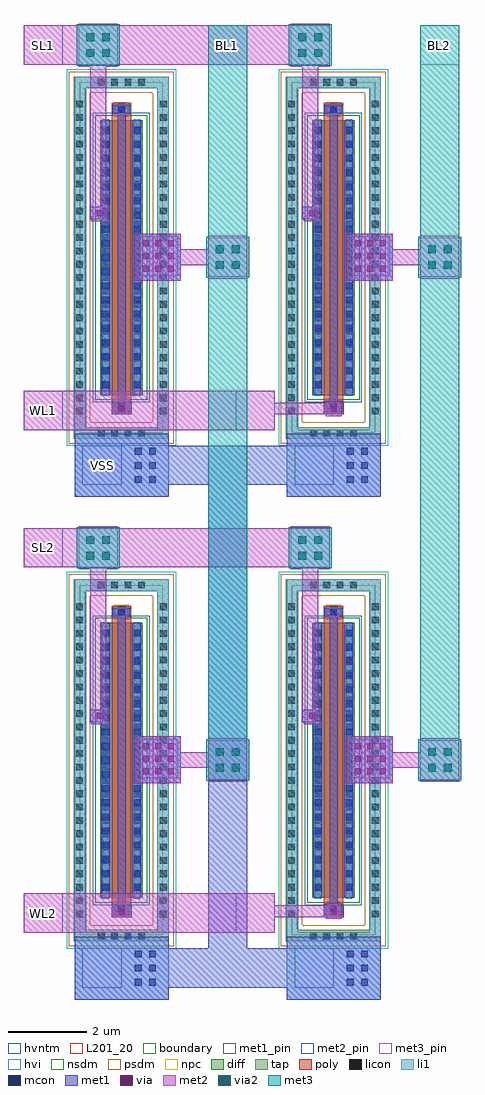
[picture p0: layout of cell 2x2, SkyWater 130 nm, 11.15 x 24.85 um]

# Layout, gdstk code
import gdstk
lib = gdstk.Library(unit=1e-6, precision=1e-09)
def R(c, l, rs):  # rectangles x0, y0, x1, y1
    for r in rs: c.add(gdstk.rectangle(r[:2], r[2:], *l))
def A(c, l, x, y, w, h, nx, ny, dx, dy):  # array of equal rectangles
    R(c, l, [(x+i*dx, y+j*dy, x+i*dx+w, y+j*dy+h) for i in range(nx) for j in range(ny)])
diff = (65, 20)
tap = (65, 44)
poly = (66, 20)
licon = (66, 44)
li1 = (67, 20)
mcon = (67, 44)
met1_pin = (68, 16)
met1 = (68, 20)
via = (68, 44)
met2_pin = (69, 16)
met2 = (69, 20)
via2 = (69, 44)
met3_pin = (70, 16)
met3 = (70, 20)
hvi = (75, 20)
nsdm = (93, 44)
psdm = (94, 20)
npc = (95, 20)
hvntm = (125, 20)
L201_20 = (201, 20)
boundary = (235, 4)

sky130_fd_pr_reram__rera = lib.new_cell('sky130_fd_pr_reram__reram_cell_X')
R(sky130_fd_pr_reram__rera, met1_pin, [(-0.15,-2.46,0.85,-1.46)])
R(sky130_fd_pr_reram__rera, met1, [(-0.15,-2.46,0.85,-1.46)])
A(sky130_fd_pr_reram__rera, via, -0.045, -2.355, 0.15, 0.15, 3, 3, 0.32, 0.32)
R(sky130_fd_pr_reram__rera, met2_pin, [(-0.15,-2.46,0.85,-1.46)])
R(sky130_fd_pr_reram__rera, met2, [(-0.15,-2.46,0.85,-1.46)])
R(sky130_fd_pr_reram__rera, L201_20, [(-0.15,-2.46,0.85,-1.46)])
sky130_fd_pr_reram__rera.add(gdstk.Label('TE', (0.35,-1.96), layer=69, texttype=5))
sky130_fd_pr_reram__rera.add(gdstk.Label('BE', (0.35,-1.96), layer=68, texttype=5))

sky130_fd_pr__nfet_g5v0d = lib.new_cell('sky130_fd_pr__nfet_g5v0d10v5_9YEQ2B')
R(sky130_fd_pr__nfet_g5v0d, diff, [(-0.54,-3.5,0.54,3.5)])
R(sky130_fd_pr__nfet_g5v0d, tap, [(-1.21,-4.61,1.21,-4.32), (-1.21,-4.32,-0.92,4.32), (0.92,-4.32,1.21,4.32), (-1.21,4.32,1.21,4.61)])
R(sky130_fd_pr__nfet_g5v0d, poly, [(-0.25,-3.94,0.25,3.94)])
A(sky130_fd_pr__nfet_g5v0d, licon, -0.595, -4.55, 0.17, 0.17, 4, 2, 0.34, 8.93)
A(sky130_fd_pr__nfet_g5v0d, licon, -1.15, -3.995, 0.17, 0.17, 1, 24, 0, 0.34)
A(sky130_fd_pr__nfet_g5v0d, licon, 0.98, -3.995, 0.17, 0.17, 1, 24, 0, 0.34)
A(sky130_fd_pr__nfet_g5v0d, licon, -0.48, -3.315, 0.17, 0.17, 1, 20, 0, 0.34)
A(sky130_fd_pr__nfet_g5v0d, licon, 0.31, -3.315, 0.17, 0.17, 1, 20, 0, 0.34)
R(sky130_fd_pr__nfet_g5v0d, licon, [(-0.085,-3.86,0.085,-3.69), (-0.085,3.69,0.085,3.86)])
R(sky130_fd_pr__nfet_g5v0d, li1, [(-1.15,-4.55,1.15,-4.38), (-1.15,-4.38,-0.98,4.38), (0.98,-4.38,1.15,4.38), (-0.25,-3.86,0.25,-3.69), (-0.48,-3.52,-0.31,3.52), (0.31,-3.52,0.48,3.52), (-0.25,3.69,0.25,3.86), (-1.15,4.38,1.15,4.55)])
A(sky130_fd_pr__nfet_g5v0d, mcon, -0.48, -3.325, 0.17, 0.17, 1, 19, 0, 0.36)
A(sky130_fd_pr__nfet_g5v0d, mcon, 0.31, -3.325, 0.17, 0.17, 1, 19, 0, 0.36)
R(sky130_fd_pr__nfet_g5v0d, mcon, [(-0.085,-3.86,0.085,-3.69), (-0.085,3.69,0.085,3.86)])
R(sky130_fd_pr__nfet_g5v0d, met1, [(-0.23,-3.89,0.23,-3.66), (-0.51,-3.5,-0.28,3.5), (0.28,-3.5,0.51,3.5), (-0.23,3.66,0.23,3.89)])
R(sky130_fd_pr__nfet_g5v0d, hvi, [(-1.395,-4.795,1.395,4.795)])
R(sky130_fd_pr__nfet_g5v0d, nsdm, [(-0.665,-3.625,0.665,3.625)])
R(sky130_fd_pr__nfet_g5v0d, psdm, [(-1.335,-4.735,1.335,-4.195), (-1.335,-4.195,-0.795,4.195), (0.795,-4.195,1.335,4.195), (-1.335,4.195,1.335,4.735)])
R(sky130_fd_pr__nfet_g5v0d, npc, [(-0.185,-3.96,0.185,-3.59), (-0.185,3.59,0.185,3.96)])
R(sky130_fd_pr__nfet_g5v0d, hvntm, [(-0.725,-3.685,0.725,3.685)])
R(sky130_fd_pr__nfet_g5v0d, boundary, [(-1.06,-4.46,1.06,4.46)])

c_1t1r = lib.new_cell('1T1R')
R(c_1t1r, li1, [(-0.5,2.1,1.9,3.8), (-0.5,3.8,-0.2,12.5), (1.6,3.8,1.9,12.5), (-0.5,12.5,1.9,12.8)])
A(c_1t1r, mcon, 1.035, 2.455, 0.17, 0.17, 1, 3, 0, 0.36)
A(c_1t1r, mcon, 1.395, 2.455, 0.17, 0.17, 1, 3, 0, 0.36)
R(c_1t1r, met1_pin, [(-0.3,2.4,0.7,3.4)])
R(c_1t1r, met1, [(-0.5,2.1,1.9,3.7), (0.45,4.2,0.95,4.5), (0.6,4.5,0.8,12.1), (1,7.6,2.2,8.8), (-0.12,9.16,0.41,9.48)])
R(c_1t1r, via, [(0.625,4.275,0.775,4.425), (0.07,9.245,0.22,9.395)])
R(c_1t1r, met2_pin, [(-1.8,3.8,-0.8,4.8)])
R(c_1t1r, met2, [(-1.8,3.8,-0.8,4.2), (0.5,4.15,0.9,4.2), (-1.8,4.2,0.9,4.5), (-1.8,4.5,-0.8,4.8), (0.5,4.5,0.9,4.55), (1,7.6,2.2,8), (2.9,7.65,3.9,8), (1,8,3.9,8.4), (1,8.4,2.2,8.8), (2.9,8.4,3.9,8.75), (-0.07,9.11,0.36,9.2), (-0.1,9.2,0.36,9.53), (-0.1,9.53,0.3,13.05), (-0.4,13.05,0.6,14.15)])
R(c_1t1r, via2, [(3.1,7.9,3.3,8.1), (3.5,7.9,3.7,8.1), (3.1,8.3,3.3,8.5), (3.5,8.3,3.7,8.5), (-0.2,13.3,0,13.5), (0.2,13.3,0.4,13.5), (-0.2,13.7,0,13.9), (0.2,13.7,0.4,13.9)])
R(c_1t1r, met3_pin, [(2.9,7.7,3.9,8.7), (-0.4,13.1,0.6,14.1)])
R(c_1t1r, met3, [(2.85,7.675,3.95,8.725), (-0.45,13.075,0.65,14.125)])
c_1t1r.add(gdstk.Reference(sky130_fd_pr_reram__rera, (1.28,10.19)))
c_1t1r.add(gdstk.Reference(sky130_fd_pr__nfet_g5v0d, (0.69,8.19)))
c_1t1r.add(gdstk.Label('SL', (0.1,13.6), layer=70, texttype=5))
c_1t1r.add(gdstk.Label('VSS', (0.2,2.9), layer=68, texttype=5))
c_1t1r.add(gdstk.Label('WL', (-1.3,4.3), layer=69, texttype=5))
c_1t1r.add(gdstk.Label('BL', (3.4,8.2), layer=70, texttype=5))

c_2x2 = lib.new_cell('2x2')
R(c_2x2, met1_pin, [(8.3,1,9.3,2)])
R(c_2x2, met1, [(8.3,-11.8,14.7,-10.8), (11.5,-10.8,12.5,1), (8.3,1,14.7,2)])
R(c_2x2, met2_pin, [(6.8,-10.4,7.8,-9.4), (6.8,-1.1,7.8,-0.1), (6.8,2.4,7.8,3.4), (6.8,11.7,7.8,12.7)])
R(c_2x2, met2, [(6.8,-10.4,13.2,-9.4), (6.8,-1.1,14.6,-0.1), (6.8,2.4,13.2,3.4), (6.8,11.7,14.6,12.7)])
R(c_2x2, met3_pin, [(11.5,11.7,12.5,12.7), (16.9,11.7,17.9,12.7)])
R(c_2x2, met3, [(11.5,-6.5,12.5,12.7), (16.9,-6.5,17.9,12.7)])
c_2x2.add(gdstk.Reference(c_1t1r, (14,-14.2)))
c_2x2.add(gdstk.Reference(c_1t1r, (8.6,-14.2)))
c_2x2.add(gdstk.Reference(c_1t1r, (14,-1.4)))
c_2x2.add(gdstk.Reference(c_1t1r, (8.6,-1.4)))
c_2x2.add(gdstk.Label('BL2', (17.4,12.2), layer=70, texttype=5))
c_2x2.add(gdstk.Label('BL1', (12,12.2), layer=70, texttype=5))
c_2x2.add(gdstk.Label('VSS', (8.8,1.5), layer=68, texttype=5))
c_2x2.add(gdstk.Label('WL1', (7.3,2.9), layer=69, texttype=5))
c_2x2.add(gdstk.Label('WL2', (7.3,-9.9), layer=69, texttype=5))
c_2x2.add(gdstk.Label('SL1', (7.3,12.2), layer=69, texttype=5))
c_2x2.add(gdstk.Label('SL2', (7.3,-0.6), layer=69, texttype=5))

lib.write_gds('2x2.gds')
